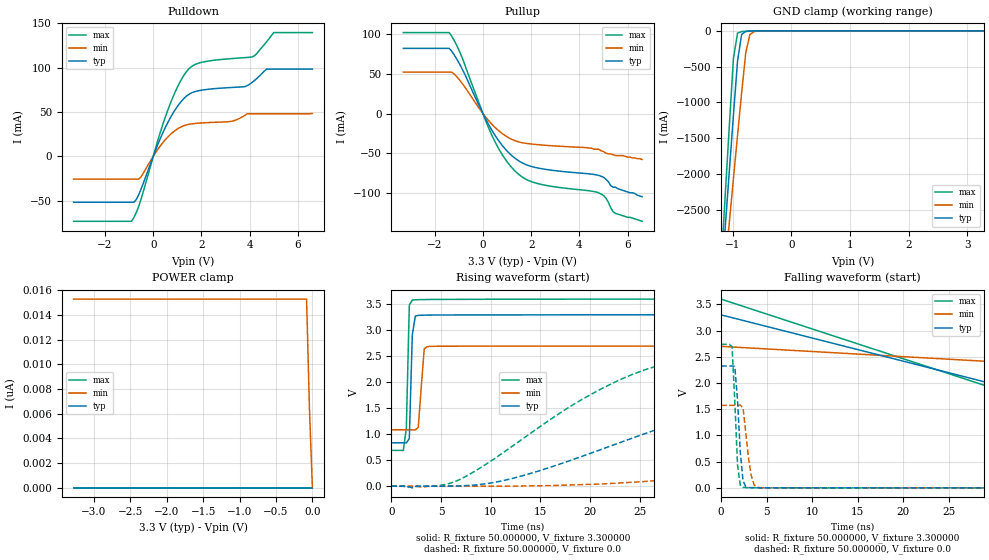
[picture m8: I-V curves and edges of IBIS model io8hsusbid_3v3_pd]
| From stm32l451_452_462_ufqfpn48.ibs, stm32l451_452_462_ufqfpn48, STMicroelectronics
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|   Model io8hsusbid_3v3_pd
[Model]  io8hsusbid_3v3_pd
Model_type I/O
Polarity   Non-Inverting
Enable   Active-Low
Vinl =   0.990000V
Vinh =   2.310000V
Vmeas =  1.650000V
Cref =   100.000000nF
Rref =   1.000000k
Vref =   3.300000V
C_comp   2.116400pF   2.092700pF   2.152900pF
[Temperature Range]   25.000000   0.125000k   -40.000000
[Pullup Reference]   3.300000V   2.700000V   3.600000V
[Pulldown Reference]   0.0V   0.0V   0.0V
[POWER Clamp Reference]   3.300000V   2.700000V   3.600000V
[GND Clamp Reference]   0.0V   0.0V   0.0V
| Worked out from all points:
|   slope of the pulldown table from 0 to 0.495 V, typ, clamps not added: 15.4 ohm
|   slope of the pullup table from 0 to 0.495 V, typ, clamps not added: 18.1 ohm
|   GND clamp passes 1 mA (typ) near -0.59 V on its own axis
|   rising waveform, R_fixture 50.000000, V_fixture 3.300000: 20-80 % time 223ps typ, 384ps min, 221ps max; typ from 0.835 V to 3.3 V
|   rising waveform, R_fixture 50.000000, V_fixture 0.0: 20-80 % time 23.9ns typ, 50.4ns min, 14.3ns max; typ from 0 V to 2.32 V
|   falling waveform, R_fixture 50.000000, V_fixture 3.300000: 20-80 % time 33.5ns typ, 61.1ns min, 30.7ns max; typ from 3.3 V to 0.835 V
|   falling waveform, R_fixture 50.000000, V_fixture 0.0: 20-80 % time 509ps typ, 661ps min, 429ps max; typ from 2.32 V to 0 V
[Pulldown]
|Voltage   I(typ)   I(min)   I(max)
-3.3V     -51.63mA   -25.53mA   -73.04mA
-900mV    -51.63mA   -25.53mA   -73.04mA
-500mV    -36.51mA   -22.8mA    -47.71mA
200mV     14.02mA    8.316mA    18.9mA
700mV     42.99mA    24.4mA     58.9mA
1.2V      63.06mA    33.8mA     88.14mA
1.6V      71.63mA    36.67mA    101.4mA
3.2V      77.51mA    39.29mA    110mA
4.1V      83.27mA    48mA       111.9mA
4.7V      98.3mA     48mA       129mA
5V        98.3mA     48mA       139.4mA
6.6V      98.3mA     48.43mA    139.4mA
[Pullup]
|Voltage   I(typ)   I(min)   I(max)
-3.3V     82.22mA    52.22mA    102.1mA
-1.4V     82.22mA    52.22mA    102.1mA
-900mV    58.55mA    39.64mA    73.33mA
100mV     -6.166mA   -3.962mA   -8.038mA
500mV     -27.53mA   -17.49mA   -35.6mA
1V        -47.29mA   -29.37mA   -60.81mA
1.5V      -60.05mA   -35.95mA   -77.15mA
2.4V      -69.45mA   -39.66mA   -89.34mA
4.8V      -78.1mA    -45mA      -100.1mA
5.1V      -83mA      -50mA      -106.7mA
5.5V      -93mA      -53mA      -126mA
6.6V      -105mA     -58mA      -136mA
[GND_clamp]
|Voltage   I(typ)   I(min)   I(max)
-3.3V     -9.914A    -9.595A    -9.188A
-1.2V     -3.541A    -3.911A    -3.279A
-1.13V    -2.75A     -3.295A    -2.301A
-1.06V    -1.963A    -2.68A     -1.33A
-990mV    -1.183A    -2.069A    -386.7mA
-920mV    -424.7mA   -1.463A    -31.42mA
-850mV    -49.13mA   -868.7mA   -10.49mA
-780mV    -9.132mA   -308.3mA   -6.726mA
-710mV    -3.661mA   -53.82mA   -3.996mA
-640mV    -1.738mA   -11.05mA   -1.896mA
-430mV    -33.31uA   -129.6uA   -18.85uA
3.28V     86.93uA    88.78uA    71.45uA
[POWER_clamp]
|Voltage   I(typ)   I(min)   I(max)
-3.28V    0A         15.27nA    0A
-80mV     0A         15.27nA    0A
-40mV     0A         6.354nA    0A
0V        0A         0A         0A
[Ramp]
| variable   typ   min   max
dV/dt_r  1.39404/23.91093n   0.94416/53.26977n   1.64262/14.30157n
dV/dt_f  1.47860/21.09034n   0.96750/44.71088n   1.74566/13.58933n
R_load = 50.000000
[Rising Waveform]
R_fixture= 50.000000
V_fixture= 3.300000
V_fixture_min= 2.700000
V_fixture_max= 3.600000
|time   V(typ)   V(min)   V(max)
0s        834.7mV    1.086V     689.8mV
1.201ns   834.6mV    1.086V     687.9mV
1.502ns   833.5mV    1.086V     1.115V
1.802ns   918.5mV    1.086V     3.487V
2.102ns   2.91V      1.085V     3.581V
2.402ns   3.273V     1.082V     3.587V
2.703ns   3.286V     1.132V     3.589V
3.303ns   3.291V     2.644V     3.591V
3.904ns   3.293V     2.69V      3.593V
149.5ns   3.299V     2.699V     3.599V
[Rising Waveform]
R_fixture= 50.000000
V_fixture= 0.0
V_fixture_min= 0.0
V_fixture_max= 0.0
|time   V(typ)   V(min)   V(max)
0s        3.142nV    58.62nV    2.998nV
6.306ns   2.707mV    -142.9uV   82.36mV
12.01ns   141.4mV    1.948mV    748.3mV
18.32ns   516.4mV    25.35mV    1.572V
23.72ns   889.5mV    70.25mV    2.109V
33.93ns   1.521V     231.2mV    2.549V
45.95ns   1.997V     483mV      2.667V
65.47ns   2.229V     894.3mV    2.722V
99.4ns    2.308V     1.373V     2.736V
149.5ns   2.323V     1.574V     2.738V
[Falling Waveform]
R_fixture= 50.000000
V_fixture= 3.300000
V_fixture_min= 2.700000
V_fixture_max= 3.600000
|time   V(typ)   V(min)   V(max)
0s        3.299V     2.699V     3.599V
50.05ns   1.088V     2.207V     752.5mV
100.1ns   862.5mV    1.296V     694.5mV
150.2ns   839.9mV    1.146V     690.2mV
200.2ns   835.7mV    1.105V     689.8mV
300.3ns   834.7mV    1.089V     689.8mV
4.955us   834.7mV    1.086V     689.8mV
[Falling Waveform]
R_fixture= 50.000000
V_fixture= 0.0
V_fixture_min= 0.0
V_fixture_max= 0.0
|time   V(typ)   V(min)   V(max)
0s        2.323V     1.574V     2.738V
1.201ns   2.323V     1.574V     2.69V
1.502ns   2.317V     1.574V     1.656V
1.802ns   1.675V     1.573V     440.5mV
2.102ns   687.8mV    1.579V     50.73mV
2.402ns   141.9mV    1.524V     10.48mV
2.703ns   21.6mV     1.06V      4.6mV
3.604ns   2.445mV    62.01mV    1.837mV
4.505ns   1.304mV    2.469mV    1.168mV
149.5ns   3.142nV    58.62nV    2.998nV
